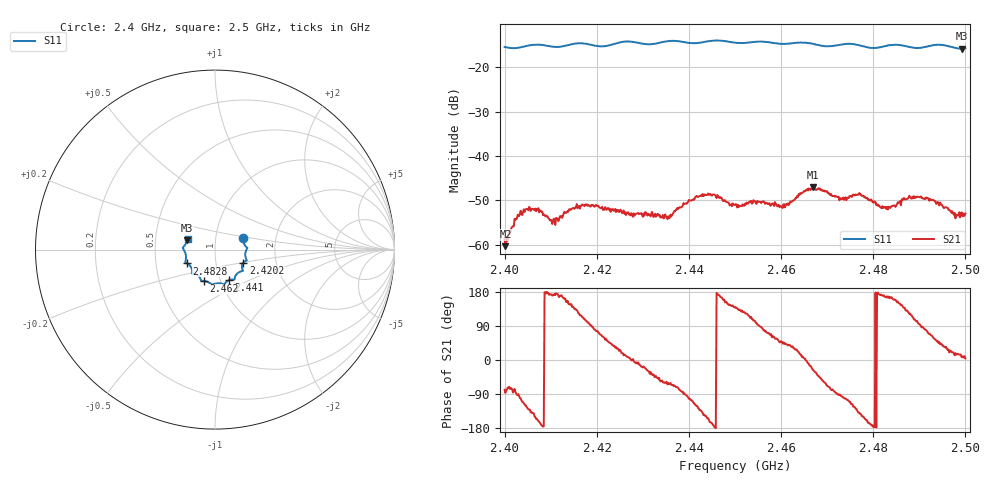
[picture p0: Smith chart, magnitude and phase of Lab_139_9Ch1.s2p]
# Hz S RI R 50
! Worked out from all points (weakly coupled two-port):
!   601 points, 2.4 GHz to 2.5 GHz, reference 50 ohm
!   highest |S21| = -47.08 dB at 2.467 GHz (marker M1); lowest = -60.3 dB at 2.4002 GHz (marker M2)
!   lowest |S11| = -15.8 dB at 2.4993 GHz (marker M3), VSWR 1.39, Z = 36.5 + j3.89 ohm
!   |S11| at or under -10 dB: start of sweep to end of sweep
!   S12 and S22 are empty: the file has one direction only
!   S11 on the Smith chart (normalised r, x): 2.4 GHz: 1.36, +0.17; 2.4202 GHz: 1.36, -0.20; 2.441 GHz: 1.10, -0.39; 2.462 GHz: 0.84, -0.30; 2.4828 GHz: 0.72, -0.11; 2.5 GHz: 0.73, +0.09
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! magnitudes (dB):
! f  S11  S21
! 2.4 GHz  -15.4  -58.7
! 2.4002 GHz  -15.4  -60.3
! 2.403 GHz  -15.6  -53.4
! 2.405 GHz  -15.1  -52.0
! 2.4105 GHz  -15.4  -54.8
! 2.4167 GHz  -14.6  -51.2
! 2.4202 GHz  -15.2  -51.2
! 2.4333 GHz  -14.5  -53.1
! 2.4358 GHz  -14.0  -53.9
! 2.441 GHz  -14.6  -49.7
! 2.4452 GHz  -14.0  -48.7
! 2.45 GHz  -14.4  -51.0
! 2.462 GHz  -14.6  -50.2
! 2.4667 GHz  -14.6  -47.4
! 2.467 GHz  -14.7  -47.1
! 2.4732 GHz  -14.8  -49.6
! 2.4773 GHz  -15.1  -48.7
! 2.4828 GHz  -15.1  -51.9
! 2.4833 GHz  -15.0  -51.4
! 2.49 GHz  -15.6  -49.3
! 2.4993 GHz  -15.8  -53.6
! 2.5 GHz  -15.7  -52.9
